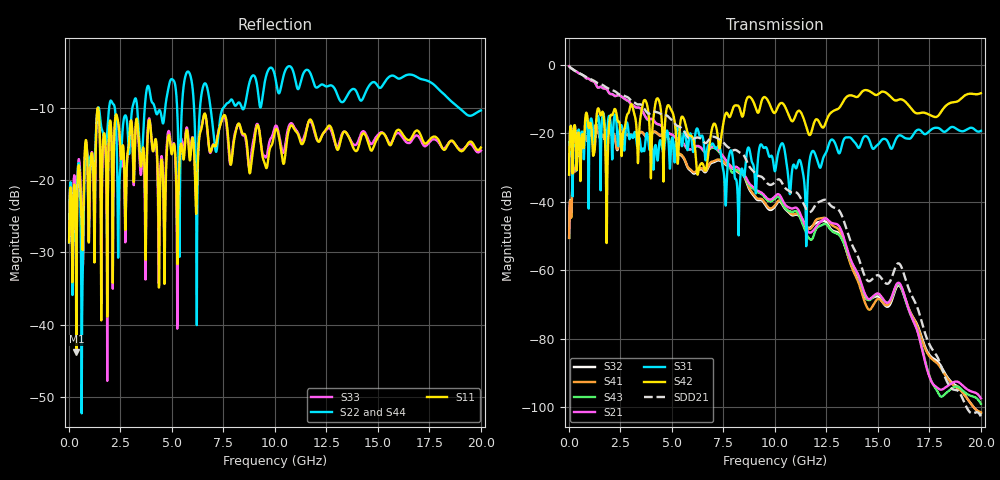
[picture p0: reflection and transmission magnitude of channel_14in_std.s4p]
! 4-port sparameter: port 1 to 2, port 3 to 4, with {1,3} in tx side and {2,4} in rx side
# Hz S RI R 50.0000
! FREQ  S11  S12  S13  S14
!  S21  S22  S23  S24
!  S31  S32  S33  S34
!  S41  S42  S43  S44
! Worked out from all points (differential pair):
!   2000 points, 10 MHz to 20 GHz, reference 50 ohm
!   strongest paths, dB at 10 MHz, 5.01 GHz, 10.01 GHz, 15.01 GHz, 20 GHz:
!     S42: -32.1, -13.6, -13.9, -8.6, -8.3
!     S31: -31.9, -21.2, -31.0, -23.3, -19.3
!     S21: -0.4, -20.4, -38.3, -66.8, -97.4
!     S43: -0.4, -20.5, -39.0, -66.9, -99.0
!     S41: -50.6, -23.3, -41.0, -68.4, -101.5
!     S32: -50.5, -23.5, -41.3, -67.7, -101.8
!   taken as a pair (ports 1,3 in; 2,4 out), SDD21 dB: -0.4, -16.1, -34.2, -61.4, -102.7
!   lowest |S11| = -43.8 dB at 360 MHz (marker M1), VSWR 1.01, Z = 50.4 + j0.482 ohm
!   |S11| at or under -10 dB: start of sweep to 1.398 GHz; 1.416 GHz to end of sweep
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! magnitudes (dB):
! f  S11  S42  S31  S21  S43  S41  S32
! 10 MHz  -28.6  -32.1  -31.9  -0.4  -0.4  -50.6  -50.5
! 360 MHz  -43.8  -27.1  -27.0  -1.9  -1.9  -28.2  -28.1
! 4.67 GHz  -26.1  -16.6  -22.1  -19.4  -19.5  -19.9  -20.0
! 11.5 GHz  -13.6  -17.6  -44.4  -47.5  -48.9  -46.8  -47.0
! 12.75 GHz  -12.9  -13.8  -21.8  -46.1  -48.4  -46.7  -48.2
! 14.54 GHz  -14.9  -7.5  -21.4  -68.4  -68.7  -71.4  -68.6
! 20 GHz  -15.5  -8.3  -19.3  -97.4  -99.0  -101.5  -101.8
